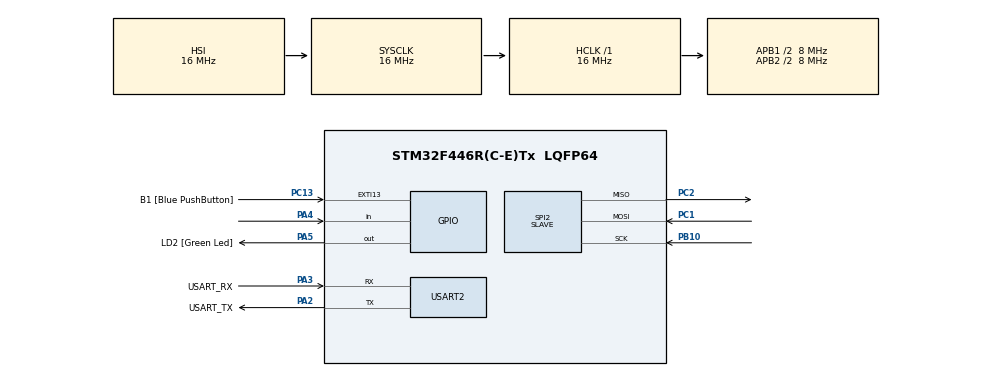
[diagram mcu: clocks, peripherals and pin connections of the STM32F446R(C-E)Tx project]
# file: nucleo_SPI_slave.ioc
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Mcu.Family=STM32F4
Mcu.Name=STM32F446R(C-E)Tx
Mcu.Package=LQFP64
NVIC.PriorityGroup=NVIC_PRIORITYGROUP_0
NVIC.SPI2_IRQn=true\:0\:0\:false\:false\:true\:true\:true\:true
NVIC.USART2_IRQn=true\:0\:0\:false\:false\:true\:true\:true\:true
PA13.GPIO_Label=TMS
PA13.Signal=SYS_JTMS-SWDIO
PA14.GPIO_Label=TCK
PA14.Signal=SYS_JTCK-SWCLK
PA2.GPIO_Label=USART_TX
PA2.Mode=Asynchronous
PA2.Signal=USART2_TX
PA3.GPIO_Label=USART_RX
PA3.Mode=Asynchronous
PA3.Signal=USART2_RX
PA4.Signal=GPIO_Input
PA5.GPIO_Label=LD2 [Green Led]
PA5.Signal=GPIO_Output
PB10.Mode=Full_Duplex_Slave
PB10.Signal=SPI2_SCK
PB3.GPIO_Label=SWO
PB3.Signal=SYS_JTDO-SWO
PC1.Mode=Full_Duplex_Slave
PC1.Signal=SPI2_MOSI
PC13.GPIO_Label=B1 [Blue PushButton]
PC13.GPIO_ModeDefaultEXTI=GPIO_MODE_IT_FALLING
PC13.Signal=GPXTI13
PC14-OSC32_IN.Signal=RCC_OSC32_IN
PC15-OSC32_OUT.Signal=RCC_OSC32_OUT
PC2.Mode=Full_Duplex_Slave
PC2.Signal=SPI2_MISO
PH0-OSC_IN.Signal=RCC_OSC_IN
PH1-OSC_OUT.Signal=RCC_OSC_OUT
ProjectManager.HeapSize=0x200
ProjectManager.StackSize=0x400
ProjectManager.TargetToolchain=STM32CubeIDE
RCC.AHBFreq_Value=16000000
RCC.APB1CLKDivider=RCC_HCLK_DIV2
RCC.APB1Freq_Value=8000000
RCC.APB1TimFreq_Value=16000000
RCC.APB2CLKDivider=RCC_HCLK_DIV2
RCC.APB2Freq_Value=8000000
RCC.APB2TimFreq_Value=16000000
RCC.CortexFreq_Value=16000000
RCC.FLatency-AdvancedSettings=FLASH_LATENCY_0
RCC.HCLKFreq_Value=16000000
RCC.HSE_VALUE=8000000
RCC.HSI_VALUE=16000000
RCC.LSE_VALUE=32768
RCC.PLLN=336
RCC.PLLP=RCC_PLLP_DIV4
RCC.SYSCLKFreq_VALUE=16000000
RCC.USBFreq_Value=168000000
RCC.VCOOutputFreq_Value=336000000
SPI2.Direction=SPI_DIRECTION_2LINES
SPI2.Mode=SPI_MODE_SLAVE
SPI2.VirtualType=VM_SLAVE
USART2.VirtualMode=VM_ASYNC
board=NUCLEO-F446RE

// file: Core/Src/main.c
/* USER CODE BEGIN Header */
/**
 ******************************************************************************
 * @file           : main.c
 * @brief          : Main program body
 ******************************************************************************
 * @attention
 *
 * Copyright (c) 2024 STMicroelectronics.
 * All rights reserved.
 *
 * This software is licensed under terms that can be found in the LICENSE file
 * in the root directory of this software component.
 * If no LICENSE file comes with this software, it is provided AS-IS.
 *
 ******************************************************************************
 */
/* USER CODE END Header */
#include "main.h"

/* USER CODE BEGIN Includes */
#include <string.h>

/* USER CODE END Includes */

SPI_HandleTypeDef hspi2;

UART_HandleTypeDef huart2;

/* USER CODE BEGIN PV */
char *listening_data = "Slave listening\r\n";
char *receiving_data = "\nSlave received\r\n";
uint8_t rxBuffer[10]; // Buffer to store received data, adjust size as needed
HAL_StatusTypeDef receiveStatus;
/* USER CODE END PV */

void SystemClock_Config(void);
static void MX_GPIO_Init(void);
static void MX_USART2_UART_Init(void);
static void MX_SPI2_Init(void);

int main(void) {

	/* MCU Configuration--------------------------------------------------------*/

	/* Reset of all peripherals, Initializes the Flash interface and the Systick. */
	HAL_Init();

	/* Configure the system clock */
	SystemClock_Config();

	/* Initialize all configured peripherals */
	MX_GPIO_Init();
	MX_USART2_UART_Init();
	MX_SPI2_Init();
	/* USER CODE BEGIN 2 */
	// For nucleo board, the USART is connected directly to USB.
	// Don't need to connect pins.
	/* USER CODE END 2 */

	/* Infinite loop */
	/* USER CODE BEGIN WHILE */

	while (1) {
	    memset(rxBuffer, 0, sizeof(rxBuffer)); // Clear buffer before receiving new data

		// Attempt to receive data from the SPI master
	    uint8_t expected_bytes = 5;
		receiveStatus = HAL_SPI_Receive(&hspi2, rxBuffer, expected_bytes, HAL_MAX_DELAY);

		// Check if data reception was successful
		if (receiveStatus == HAL_OK) {

		    HAL_GPIO_WritePin(LD2_GPIO_Port, LD2_Pin, GPIO_PIN_SET);
		    HAL_Delay(50);
		    HAL_GPIO_WritePin(LD2_GPIO_Port, LD2_Pin, GPIO_PIN_RESET);
		    HAL_Delay(50);

		} else {
			// Handle reception error, for example, by sending an error message over UART
			char *errorMsg = "SPI Receive Error\r\n";
			HAL_UART_Transmit(&huart2, (uint8_t*) errorMsg, strlen(errorMsg), HAL_MAX_DELAY);
		}
		/* USER CODE END WHILE */

	}
}

void SystemClock_Config(void) {
	RCC_OscInitTypeDef RCC_OscInitStruct = { 0 };
	RCC_ClkInitTypeDef RCC_ClkInitStruct = { 0 };

	/** Configure the main internal regulator output voltage
	 */
	__HAL_RCC_PWR_CLK_ENABLE();
	__HAL_PWR_VOLTAGESCALING_CONFIG(PWR_REGULATOR_VOLTAGE_SCALE3);

	/** Initializes the RCC Oscillators according to the specified parameters
	 * in the RCC_OscInitTypeDef structure.
	 */
	RCC_OscInitStruct.OscillatorType = RCC_OSCILLATORTYPE_HSI;
	RCC_OscInitStruct.HSIState = RCC_HSI_ON;
	RCC_OscInitStruct.HSICalibrationValue = RCC_HSICALIBRATION_DEFAULT;
	RCC_OscInitStruct.PLL.PLLState = RCC_PLL_NONE;
	if (HAL_RCC_OscConfig(&RCC_OscInitStruct) != HAL_OK) {
		Error_Handler();
	}

	/** Initializes the CPU, AHB and APB buses clocks
	 */
	RCC_ClkInitStruct.ClockType = RCC_CLOCKTYPE_HCLK | RCC_CLOCKTYPE_SYSCLK
			| RCC_CLOCKTYPE_PCLK1 | RCC_CLOCKTYPE_PCLK2;
	RCC_ClkInitStruct.SYSCLKSource = RCC_SYSCLKSOURCE_HSI;
	RCC_ClkInitStruct.AHBCLKDivider = RCC_SYSCLK_DIV1;
	RCC_ClkInitStruct.APB1CLKDivider = RCC_HCLK_DIV2;
	RCC_ClkInitStruct.APB2CLKDivider = RCC_HCLK_DIV2;

	if (HAL_RCC_ClockConfig(&RCC_ClkInitStruct, FLASH_LATENCY_0) != HAL_OK) {
		Error_Handler();
	}
}

static void MX_SPI2_Init(void) {

	/* USER CODE BEGIN SPI2_Init 1 */
	// As a slave, SPI2 doesn't generate a clock signal; it relies on the clock provided by the master
	/* USER CODE END SPI2_Init 1 */
	/* SPI2 parameter configuration*/
	hspi2.Instance = SPI2;
	hspi2.Init.Mode = SPI_MODE_SLAVE;
	hspi2.Init.Direction = SPI_DIRECTION_2LINES;
	hspi2.Init.DataSize = SPI_DATASIZE_8BIT;
	hspi2.Init.CLKPolarity = SPI_POLARITY_LOW;
	hspi2.Init.CLKPhase = SPI_PHASE_1EDGE;
	hspi2.Init.NSS = SPI_NSS_SOFT;
	hspi2.Init.FirstBit = SPI_FIRSTBIT_MSB;
	hspi2.Init.TIMode = SPI_TIMODE_DISABLE;
	hspi2.Init.CRCCalculation = SPI_CRCCALCULATION_DISABLE;
	hspi2.Init.CRCPolynomial = 10;
	if (HAL_SPI_Init(&hspi2) != HAL_OK) {
		Error_Handler();
	}

}

static void MX_USART2_UART_Init(void) {

	huart2.Instance = USART2;
	huart2.Init.BaudRate = 115200;
	huart2.Init.WordLength = UART_WORDLENGTH_8B;
	huart2.Init.StopBits = UART_STOPBITS_1;
	huart2.Init.Parity = UART_PARITY_NONE;
	huart2.Init.Mode = UART_MODE_TX_RX;
	huart2.Init.HwFlowCtl = UART_HWCONTROL_NONE;
	huart2.Init.OverSampling = UART_OVERSAMPLING_16;
	if (HAL_UART_Init(&huart2) != HAL_OK) {
		Error_Handler();
	}

}

static void MX_GPIO_Init(void) {
	GPIO_InitTypeDef GPIO_InitStruct = { 0 };

	/* GPIO Ports Clock Enable */
	__HAL_RCC_GPIOC_CLK_ENABLE();
	__HAL_RCC_GPIOH_CLK_ENABLE();
	__HAL_RCC_GPIOA_CLK_ENABLE();
	__HAL_RCC_GPIOB_CLK_ENABLE();

	/*Configure GPIO pin Output Level */
	HAL_GPIO_WritePin(LD2_GPIO_Port, LD2_Pin, GPIO_PIN_RESET);

	/*Configure GPIO pin : B1_Pin */
	GPIO_InitStruct.Pin = B1_Pin;
	GPIO_InitStruct.Mode = GPIO_MODE_IT_FALLING;
	GPIO_InitStruct.Pull = GPIO_NOPULL;
	HAL_GPIO_Init(B1_GPIO_Port, &GPIO_InitStruct);

	/*Configure GPIO pin : PA4 */
	GPIO_InitStruct.Pin = GPIO_PIN_4;
	GPIO_InitStruct.Mode = GPIO_MODE_INPUT;
	GPIO_InitStruct.Pull = GPIO_NOPULL;
	HAL_GPIO_Init(GPIOA, &GPIO_InitStruct);

	/*Configure GPIO pin : LD2_Pin */
	GPIO_InitStruct.Pin = LD2_Pin;
	GPIO_InitStruct.Mode = GPIO_MODE_OUTPUT_PP;
	GPIO_InitStruct.Pull = GPIO_NOPULL;
	GPIO_InitStruct.Speed = GPIO_SPEED_FREQ_LOW;
	HAL_GPIO_Init(LD2_GPIO_Port, &GPIO_InitStruct);

}

void Error_Handler(void) {
	__disable_irq();
	while (1) {
	}
}
